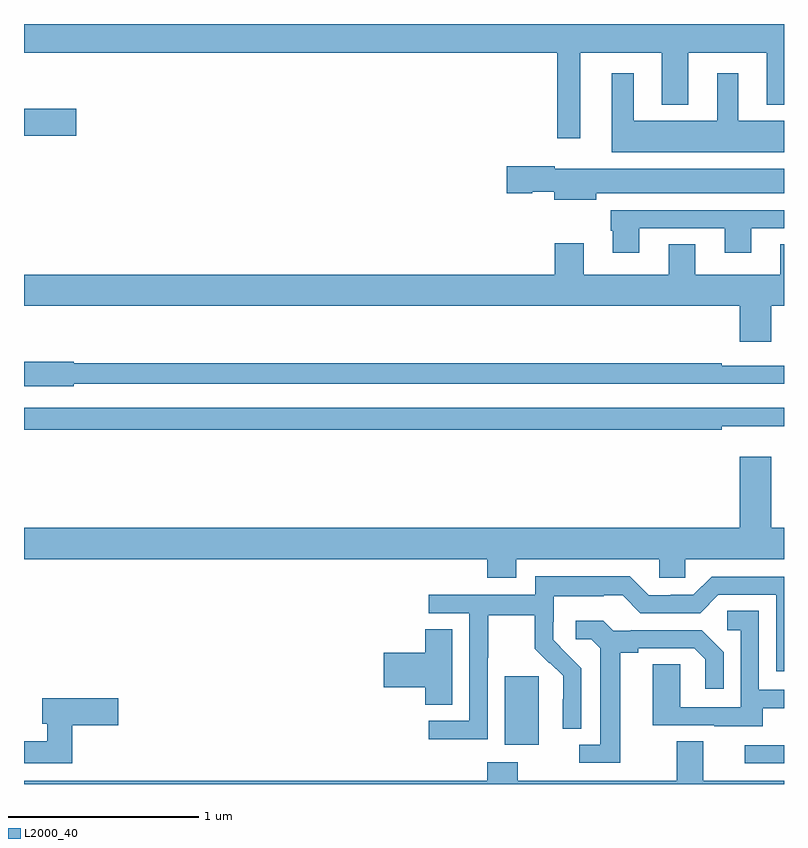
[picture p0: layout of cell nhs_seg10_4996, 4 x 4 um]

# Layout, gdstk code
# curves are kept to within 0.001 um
import gdstk
lib = gdstk.Library(unit=1e-6, precision=1e-09)
def R(c, l, rs):  # rectangles x0, y0, x1, y1
    for r in rs: c.add(gdstk.rectangle(r[:2], r[2:], *l))
def P(c, l, *ps):  # polygons
    for p in ps: c.add(gdstk.Polygon(p, *l))
L2000_40 = (2000, 40)

nhs_seg10_4996 = lib.new_cell('nhs_seg10_4996')
R(nhs_seg10_4996, L2000_40, [(404.793,1264.608,405,1264.704), (403.529,1264.706,403.708,1265.067), (401,1267.913,401.275,1268.055)])
P(nhs_seg10_4996, L2000_40, [(403.927,1268.348),(404.357,1268.348),(404.357,1268.075),(404.497,1268.075),(404.497,1268.348),(404.909,1268.348),(404.909,1268.075),(405,1268.075),(405,1268.5),(401,1268.5),(401,1268.348),(403.806,1268.348),(403.806,1267.899),(403.927,1267.899)],
  [(405,1267.99),(404.758,1267.99),(404.758,1268.242),(404.648,1268.242),(404.648,1267.99),(404.209,1267.99),(404.209,1268.242),(404.093,1268.242),(404.093,1267.826),(405,1267.826)],
  [(404.011,1267.61),(405,1267.61),(405,1267.738),(403.794,1267.738),(403.794,1267.751),(403.542,1267.751),(403.542,1267.609),(403.674,1267.609),(403.674,1267.616),(403.79,1267.616),(403.79,1267.574),(404.011,1267.574)],
  [(404.239,1267.425),(404.687,1267.425),(404.687,1267.296),(404.827,1267.296),(404.827,1267.425),(405,1267.425),(405,1267.521),(404.087,1267.521),(404.087,1267.413),(404.099,1267.413),(404.099,1267.296),(404.239,1267.296)],
  [(404.932,1267.016),(405,1267.016),(405,1267.34),(404.981,1267.34),(404.981,1267.18),(404.533,1267.18),(404.533,1267.34),(404.393,1267.34),(404.393,1267.18),(403.945,1267.18),(403.945,1267.345),(403.793,1267.345),(403.793,1267.18),(401,1267.18),(401,1267.016),(404.768,1267.016),(404.768,1266.828),(404.932,1266.828)],
  [(401.262,1266.606),(405,1266.606),(405,1266.702),(404.672,1266.702),(404.672,1266.715),(401.262,1266.715),(401.262,1266.723),(401,1266.723),(401,1266.593),(401.262,1266.593)],
  [(404.672,1266.383),(405,1266.383),(405,1266.48),(401,1266.48),(401,1266.364),(404.672,1266.364)],
  [(403.591,1265.684),(404.343,1265.684),(404.343,1265.586),(404.481,1265.586),(404.481,1265.684),(405,1265.684),(405,1265.848),(404.932,1265.848),(404.932,1266.223),(404.768,1266.223),(404.768,1265.848),(401,1265.848),(401,1265.684),(403.439,1265.684),(403.439,1265.585),(403.591,1265.585)],
  [(403.44,1265.164),(403.443,1265.164),(403.443,1265.388),(403.687,1265.388),(403.687,1265.213),(403.764,1265.136),(403.767,1265.139),(403.838,1265.069),(403.838,1264.946),(403.836,1264.946),(403.836,1264.792),(403.932,1264.792),(403.932,1265.11),(403.786,1265.258),(403.786,1265.355),(403.788,1265.355),(403.788,1265.489),(404.051,1265.489),(404.051,1265.493),(404.151,1265.493),(404.244,1265.4),(404.559,1265.4),(404.655,1265.496),(404.958,1265.496),(404.958,1265.094),(405,1265.094),(405,1265.592),(404.619,1265.592),(404.523,1265.496),(404.405,1265.496),(404.405,1265.493),(404.289,1265.493),(404.189,1265.593),(403.692,1265.593),(403.692,1265.496),(403.131,1265.496),(403.131,1265.4),(403.344,1265.4),(403.344,1264.833),(403.131,1264.833),(403.131,1264.735),(403.44,1264.735)],
  [(404.887,1264.899),(405,1264.899),(405,1264.995),(404.868,1264.995),(404.868,1265.411),(404.7,1265.411),(404.7,1265.31),(404.772,1265.31),(404.772,1264.905),(404.454,1264.905),(404.454,1265.129),(404.309,1265.129),(404.309,1264.809),(404.633,1264.809),(404.633,1264.805),(404.887,1264.805)],
  [(404.137,1265.192),(404.233,1265.192),(404.233,1265.214),(404.528,1265.214),(404.585,1265.157),(404.585,1265.001),(404.682,1265.001),(404.682,1265.194),(404.566,1265.31),(404.194,1265.31),(404.194,1265.307),(404.1,1265.307),(404.048,1265.359),(403.905,1265.359),(403.905,1265.262),(403.986,1265.262),(404.033,1265.215),(404.033,1264.707),(403.923,1264.707),(403.923,1264.611),(404.137,1264.611)],
  [(403.255,1265.315),(403.112,1265.315),(403.112,1265.192),(402.894,1265.192),(402.894,1265.009),(403.112,1265.009),(403.112,1264.918),(403.255,1264.918)],
  [(401.255,1264.81),(401.497,1264.81),(401.497,1264.952),(401.096,1264.952),(401.096,1264.817),(401.123,1264.817),(401.123,1264.724),(401,1264.724),(401,1264.608),(401.255,1264.608)],
  [(405,1264.516),(404.575,1264.516),(404.575,1264.724),(404.435,1264.724),(404.435,1264.516),(403.599,1264.516),(403.599,1264.615),(403.439,1264.615),(403.439,1264.516),(401,1264.516),(401,1264.5),(405,1264.5)])

lib.write_gds('nhs_seg10_4996.gds')
